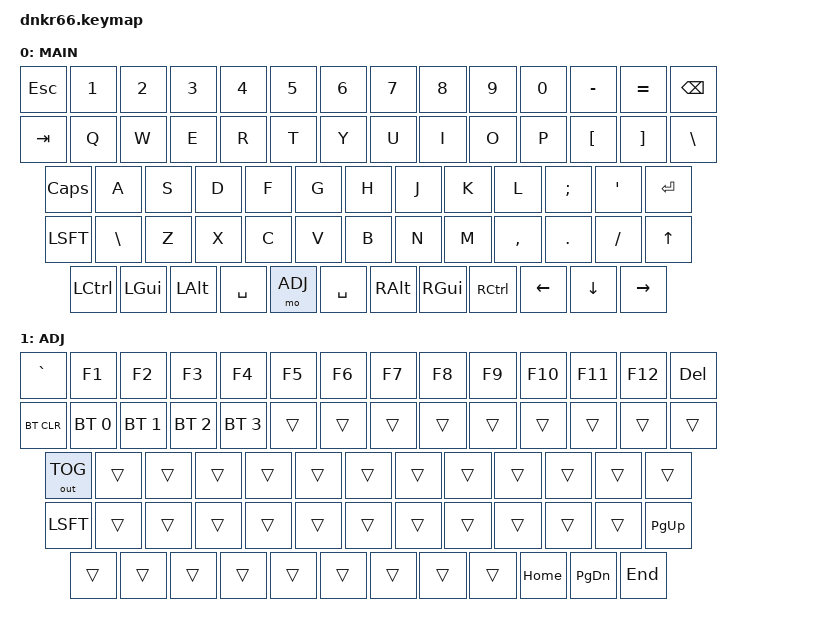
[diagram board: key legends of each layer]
/*
 * Copyright (c) 2022 The ZMK Contributors
 *
 * SPDX-License-Identifier: MIT
 */

#include <behaviors.dtsi>
#include <dt-bindings/zmk/keys.h>
#include <dt-bindings/zmk/bt.h>
#include <dt-bindings/zmk/outputs.h>

#define DEF 0
#define ADJ 1

/ {
        keymap {
                compatible = "zmk,keymap";

                default_layer {
                label = "MAIN";
                        bindings = <
	&kp ESC &kp NUM_1  &kp NUM_2 &kp NUM_3 &kp NUM_4 &kp NUM_5 &kp NUM_6 &kp NUM_7 &kp NUM_8 &kp NUM_9 &kp NUM_0 &kp MINUS &kp EQL  &kp BKSP
	&kp TAB  &kp   Q   &kp   W   &kp   E   &kp   R   &kp   T   &kp   Y   &kp   U   &kp   I   &kp   O   &kp   P   &kp LBKT &kp RBKT &kp BSLH
	&kp CLCK  &kp   A   &kp   S   &kp   D   &kp   F   &kp   G   &kp   H   &kp   J   &kp   K   &kp   L   &kp  SCLN  &kp  QUOT  &kp RET
	&kp LSFT &kp BSLH  &kp   Z   &kp   X   &kp   C   &kp   V   &kp   B   &kp   N   &kp   M   &kp  CMMA &kp  DOT  &kp FSLH   &kp UP
	&kp LCTL &kp   LGUI   &kp  LALT   &kp SPC   &mo  ADJ   &kp SPC     &kp  RALT  &kp RGUI &kp  RCTL                &kp LEFT &kp DOWN &kp RIGHT
                        >;
                };
                adjust_layer {
                label = "ADJ";
                        bindings = <
    &kp GRAVE &kp F1 &kp F2 &kp F3 &kp F4 &kp F5 &kp F6 &kp F7 &kp F8 &kp F9 &kp F10 &kp F11 &kp F12  &kp DEL
	&bt BT_CLR  &bt BT_SEL 0 &bt BT_SEL 1 &bt BT_SEL 2  &bt BT_SEL 3   &trans   &trans   &trans   &trans   &trans   &trans   &trans &trans  &trans
	&out OUT_TOG &trans   &trans   &trans   &trans   &trans   &trans   &trans   &trans   &trans   &trans  &trans &trans
	&kp LSFT   &trans &trans  &trans  &trans   &trans   &trans   &trans   &trans   &trans &trans  &trans  &kp PG_UP
	&trans &trans   &trans   &trans   &trans   &trans     &trans  &trans &trans                  &kp HOME &kp PG_DN &kp END
                        >;
                };
        };
};
